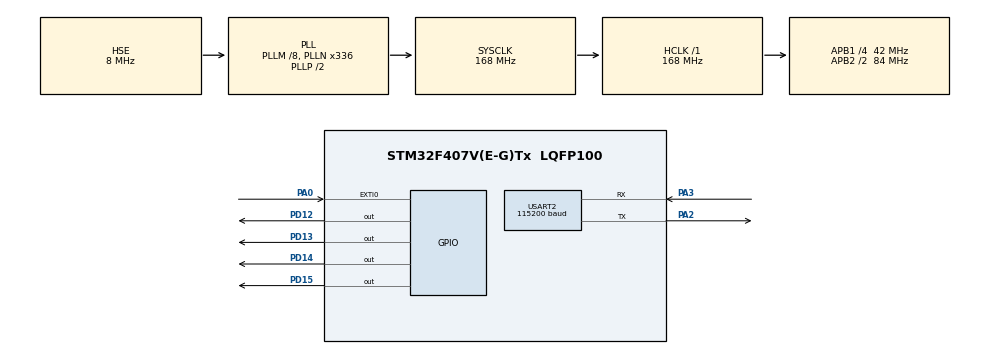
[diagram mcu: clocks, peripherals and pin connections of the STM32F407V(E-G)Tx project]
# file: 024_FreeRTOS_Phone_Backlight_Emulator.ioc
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FREERTOS.Tasks01=defaultTask,24,128,StartDefaultTask,Default,NULL,Dynamic,NULL,NULL
FREERTOS.configUSE_NEWLIB_REENTRANT=1
Mcu.Family=STM32F4
Mcu.Name=STM32F407V(E-G)Tx
Mcu.Package=LQFP100
NVIC.EXTI0_IRQn=true\:5\:0\:false\:false\:true\:true\:true\:true\:true
NVIC.PriorityGroup=NVIC_PRIORITYGROUP_4
NVIC.TIM8_TRG_COM_TIM14_IRQn=true\:15\:0\:false\:false\:true\:false\:false\:true\:true
NVIC.TimeBase=TIM8_TRG_COM_TIM14_IRQn
NVIC.TimeBaseIP=TIM14
NVIC.USART2_IRQn=true\:5\:0\:false\:false\:true\:true\:true\:true\:true
PA0-WKUP.Signal=GPXTI0
PA2.Mode=Asynchronous
PA2.Signal=USART2_TX
PA3.Mode=Asynchronous
PA3.Signal=USART2_RX
PD12.Signal=GPIO_Output
PD13.Signal=GPIO_Output
PD14.Signal=GPIO_Output
PD15.Signal=GPIO_Output
PH0-OSC_IN.Mode=HSE-External-Oscillator
PH0-OSC_IN.Signal=RCC_OSC_IN
PH1-OSC_OUT.Mode=HSE-External-Oscillator
PH1-OSC_OUT.Signal=RCC_OSC_OUT
ProjectManager.HeapSize=0x200
ProjectManager.StackSize=0x400
ProjectManager.TargetToolchain=STM32CubeIDE
RCC.48MHZClocksFreq_Value=48000000
RCC.AHBFreq_Value=168000000
RCC.APB1CLKDivider=RCC_HCLK_DIV4
RCC.APB1Freq_Value=42000000
RCC.APB1TimFreq_Value=84000000
RCC.APB2CLKDivider=RCC_HCLK_DIV2
RCC.APB2Freq_Value=84000000
RCC.APB2TimFreq_Value=168000000
RCC.CortexFreq_Value=168000000
RCC.HCLKFreq_Value=168000000
RCC.HSE_VALUE=8000000
RCC.HSI_VALUE=16000000
RCC.LSE_VALUE=32768
RCC.PLLM=8
RCC.PLLN=336
RCC.PLLQ=7
RCC.PLLSourceVirtual=RCC_PLLSOURCE_HSE
RCC.SYSCLKFreq_VALUE=168000000
RCC.SYSCLKSource=RCC_SYSCLKSOURCE_PLLCLK
RCC.VCOOutputFreq_Value=336000000
USART2.BaudRate=115200
USART2.VirtualMode=VM_ASYNC
VP_FREERTOS_VS_CMSIS_V2.Mode=CMSIS_V2
VP_SYS_VS_tim14.Mode=TIM14
board=STM32F407G-DISC1

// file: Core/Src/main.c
/* USER CODE BEGIN Header */
/**
  ******************************************************************************
  * @file           : main.c
  * @brief          : Main program body
  ******************************************************************************
  * @attention
  *
  * Copyright (c) 2023 STMicroelectronics.
  * All rights reserved.
  *
  * This software is licensed under terms that can be found in the LICENSE file
  * in the root directory of this software component.
  * If no LICENSE file comes with this software, it is provided AS-IS.
  *
  ******************************************************************************
  */
/* USER CODE END Header */
#include "main.h"

/* USER CODE BEGIN Includes */
#include "FreeRTOS.h"
#include "task.h"
#include "timers.h"
#include "queue.h"
/* USER CODE END Includes */

/* USER CODE BEGIN PD */
#define BACKLIGHT_ON_TIME		5000
/* USER CODE END PD */

UART_HandleTypeDef huart2;

/* Definitions for defaultTask */

/* USER CODE BEGIN PV */
TimerHandle_t xBackgroundLightTimer = NULL;
/* USER CODE END PV */

void SystemClock_Config(void);
static void MX_GPIO_Init(void);
static void MX_USART2_UART_Init(void);

/* USER CODE BEGIN PFP */
void turnBackgroudLightON();
void turnBackgroundLightOff();
/* USER CODE END PFP */

/* USER CODE BEGIN 0 */
void HAL_GPIO_EXTI_Callback(uint16_t GPIO_Pin)
{
  if(GPIO_Pin == GPIO_PIN_0)
  {
	  BaseType_t xHigherPriorityTaskWoken = pdFALSE;
	  turnBackgroudLightON();
	  xTimerResetFromISR(xBackgroundLightTimer, &xHigherPriorityTaskWoken);

  }
}
void turnBackgroudLightON()
{
	HAL_GPIO_WritePin(GPIOD, GPIO_PIN_12, GPIO_PIN_SET);
}
void turnBackgroundLightOff()
{
	HAL_GPIO_WritePin(GPIOD, GPIO_PIN_12, GPIO_PIN_RESET);
}
void prvBackgroundLightTimerCallback(TimerHandle_t xTimer)
{
	turnBackgroundLightOff();
}
/* USER CODE END 0 */

int main(void)
{

  /* MCU Configuration--------------------------------------------------------*/

  /* Reset of all peripherals, Initializes the Flash interface and the Systick. */
  HAL_Init();

  /* Configure the system clock */
  SystemClock_Config();

  /* Initialize all configured peripherals */
  MX_GPIO_Init();
  MX_USART2_UART_Init();
  /* USER CODE BEGIN 2 */
  xBackgroundLightTimer = xTimerCreate("OneShot",BACKLIGHT_ON_TIME, pdFALSE, 0, prvBackgroundLightTimerCallback);
  vTaskStartScheduler();
  /* USER CODE END 2 */

  /* Init scheduler */

  /* Create the thread(s) */
  /* creation of defaultTask */

  /* Start scheduler */
  /* We should never get here as control is now taken by the scheduler */
  /* Infinite loop */
  while (1)
  {

  }
}

void SystemClock_Config(void)
{
  RCC_OscInitTypeDef RCC_OscInitStruct = {0};
  RCC_ClkInitTypeDef RCC_ClkInitStruct = {0};

  /** Configure the main internal regulator output voltage
  */
  __HAL_RCC_PWR_CLK_ENABLE();
  __HAL_PWR_VOLTAGESCALING_CONFIG(PWR_REGULATOR_VOLTAGE_SCALE1);

  /** Initializes the RCC Oscillators according to the specified parameters
  * in the RCC_OscInitTypeDef structure.
  */
  RCC_OscInitStruct.OscillatorType = RCC_OSCILLATORTYPE_HSE;
  RCC_OscInitStruct.HSEState = RCC_HSE_ON;
  RCC_OscInitStruct.PLL.PLLState = RCC_PLL_ON;
  RCC_OscInitStruct.PLL.PLLSource = RCC_PLLSOURCE_HSE;
  RCC_OscInitStruct.PLL.PLLM = 8;
  RCC_OscInitStruct.PLL.PLLN = 336;
  RCC_OscInitStruct.PLL.PLLP = RCC_PLLP_DIV2;
  RCC_OscInitStruct.PLL.PLLQ = 7;
  if (HAL_RCC_OscConfig(&RCC_OscInitStruct) != HAL_OK)
  {
    Error_Handler();
  }

  /** Initializes the CPU, AHB and APB buses clocks
  */
  RCC_ClkInitStruct.ClockType = RCC_CLOCKTYPE_HCLK|RCC_CLOCKTYPE_SYSCLK
                              |RCC_CLOCKTYPE_PCLK1|RCC_CLOCKTYPE_PCLK2;
  RCC_ClkInitStruct.SYSCLKSource = RCC_SYSCLKSOURCE_PLLCLK;
  RCC_ClkInitStruct.AHBCLKDivider = RCC_SYSCLK_DIV1;
  RCC_ClkInitStruct.APB1CLKDivider = RCC_HCLK_DIV4;
  RCC_ClkInitStruct.APB2CLKDivider = RCC_HCLK_DIV2;

  if (HAL_RCC_ClockConfig(&RCC_ClkInitStruct, FLASH_LATENCY_5) != HAL_OK)
  {
    Error_Handler();
  }
}

static void MX_USART2_UART_Init(void)
{

  huart2.Instance = USART2;
  huart2.Init.BaudRate = 115200;
  huart2.Init.WordLength = UART_WORDLENGTH_8B;
  huart2.Init.StopBits = UART_STOPBITS_1;
  huart2.Init.Parity = UART_PARITY_NONE;
  huart2.Init.Mode = UART_MODE_TX_RX;
  huart2.Init.HwFlowCtl = UART_HWCONTROL_NONE;
  huart2.Init.OverSampling = UART_OVERSAMPLING_16;
  if (HAL_UART_Init(&huart2) != HAL_OK)
  {
    Error_Handler();
  }

}

static void MX_GPIO_Init(void)
{
  GPIO_InitTypeDef GPIO_InitStruct = {0};

  /* GPIO Ports Clock Enable */
  __HAL_RCC_GPIOH_CLK_ENABLE();
  __HAL_RCC_GPIOA_CLK_ENABLE();
  __HAL_RCC_GPIOD_CLK_ENABLE();

  /*Configure GPIO pin Output Level */
  HAL_GPIO_WritePin(GPIOD, GPIO_PIN_12|GPIO_PIN_13|GPIO_PIN_14|GPIO_PIN_15, GPIO_PIN_RESET);

  /*Configure GPIO pin : PA0 */
  GPIO_InitStruct.Pin = GPIO_PIN_0;
  GPIO_InitStruct.Mode = GPIO_MODE_IT_RISING;
  GPIO_InitStruct.Pull = GPIO_NOPULL;
  HAL_GPIO_Init(GPIOA, &GPIO_InitStruct);

  /*Configure GPIO pins : PD12 PD13 PD14 PD15 */
  GPIO_InitStruct.Pin = GPIO_PIN_12|GPIO_PIN_13|GPIO_PIN_14|GPIO_PIN_15;
  GPIO_InitStruct.Mode = GPIO_MODE_OUTPUT_PP;
  GPIO_InitStruct.Pull = GPIO_NOPULL;
  GPIO_InitStruct.Speed = GPIO_SPEED_FREQ_LOW;
  HAL_GPIO_Init(GPIOD, &GPIO_InitStruct);

  /* EXTI interrupt init*/
  HAL_NVIC_SetPriority(EXTI0_IRQn, 5, 0);
  HAL_NVIC_EnableIRQ(EXTI0_IRQn);

}

void HAL_TIM_PeriodElapsedCallback(TIM_HandleTypeDef *htim)
{
  if (htim->Instance == TIM14) {
    HAL_IncTick();
  }
}

void Error_Handler(void)
{
  __disable_irq();
  while (1)
  {
  }
}
